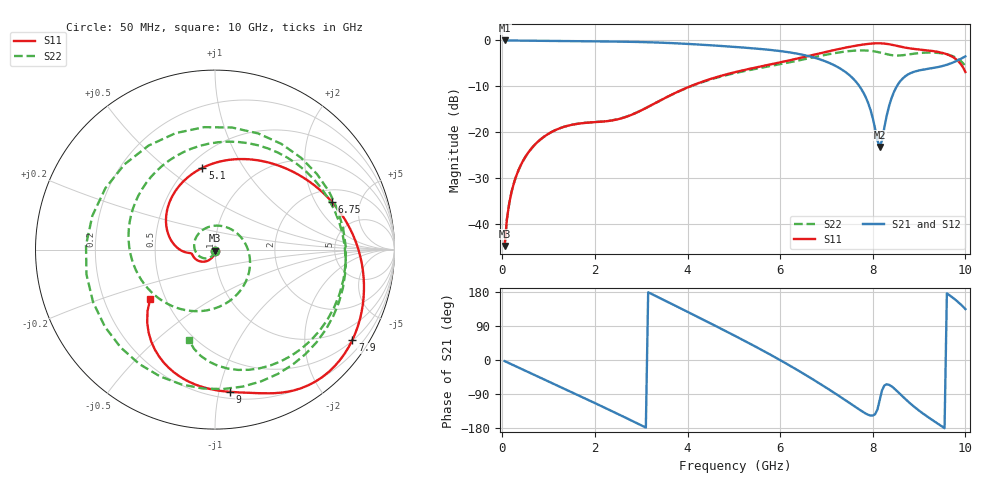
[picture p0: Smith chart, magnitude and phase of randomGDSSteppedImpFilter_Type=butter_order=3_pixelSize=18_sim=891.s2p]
! freq	dB(S11)	phase(S11)	dB(S12)	phase(S12)
!  dB(S21)	phase(S21)	dB(S22)	phase(S22)
!S-par simulation data
#  GHz  S  DB  R 50
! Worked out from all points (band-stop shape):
!   200 points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, 50 MHz to 10 GHz, reference 50 ohm
!   highest |S21| = -0.01 dB at 50 MHz (marker M1); lowest = -23.2 dB at 8.15 GHz (marker M2)
!   |S21| within 3 dB of the highest: start of sweep to 6.432 GHz
!   lowest |S11| = -44.7 dB at 50 MHz (marker M3), VSWR 1.01, Z = 50 - j0.583 ohm
!   |S11| at or under -10 dB: start of sweep to 4.053 GHz
!   |S22| runs from -44.8 to -2.2 dB; largest |S21 - S12| = 0
!   S11 on the Smith chart (normalised r, x): 50 MHz: 1.00, -0.01; 5.1 GHz: 0.58, +0.67; 6.75 GHz: 2.62, +2.76; 7.9 GHz: 0.52, -3.26; 9 GHz: 0.25, -1.08; 10 GHz: 0.41, -0.28
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0.05  -44.69 -89.1  -0.01 -2.9  -0.01 -2.9  -44.75 -89.5
0.2  -32.94 -98.6  -0.02 -11.5  -0.02 -11.5  -32.96 -102.8
0.5  -25.30 -113.5  -0.05 -28.5  -0.05 -28.5  -25.33 -124.0
1.15  -19.49 -141.8  -0.13 -65.3  -0.13 -65.3  -19.49 -170.5
1.75  -17.98 -161.7  -0.19 -99.3  -0.19 -99.3  -17.96 141.0
2.65  -16.71 -172.6  -0.28 -151.5  -0.28 -151.5  -16.68 47.9
3.4  -13.12 174.9  -0.48 163.7  -0.48 163.7  -13.13 -29.0
4.25  -9.23 140.6  -0.90 111.8  -0.90 111.8  -9.32 -97.9
5.05  -6.85 101.2  -1.44 62.1  -1.44 62.1  -7.05 -157.8
5.1  -6.73 98.7  -1.47 58.9  -1.47 58.9  -6.94 -161.6
5.85  -5.09 62.8  -2.14 10.0  -2.14 10.0  -5.46 136.0
6.7  -3.18 24.5  -3.64 -50.6  -3.64 -50.6  -3.71 51.7
6.75  -3.06 22.2  -3.78 -54.3  -3.78 -54.3  -3.61 46.3
7.35  -1.70 -5.7  -6.45 -101.3  -6.45 -101.3  -2.50 -23.0
7.9  -0.76 -33.4  -13.60 -144.5  -13.60 -144.5  -2.23 -104.1
8.15  -0.63 -47.2  -23.18 -105.9  -23.18 -105.9  -2.62 -156.7
8.35  -0.83 -58.1  -14.34 -65.4  -14.34 -65.4  -3.10 150.7
8.6  -1.36 -69.5  -8.79 -90.9  -8.79 -90.9  -3.26 82.1
8.8  -1.73 -76.8  -7.19 -113.6  -7.19 -113.6  -3.01 36.5
9  -1.97 -84.0  -6.53 -133.6  -6.53 -133.6  -2.75 1.5
9.5  -2.70 -105.9  -5.58 -175.8  -5.58 -175.8  -2.82 -59.5
10  -6.87 -142.7  -3.47 134.3  -3.47 134.3  -5.58 -105.9
